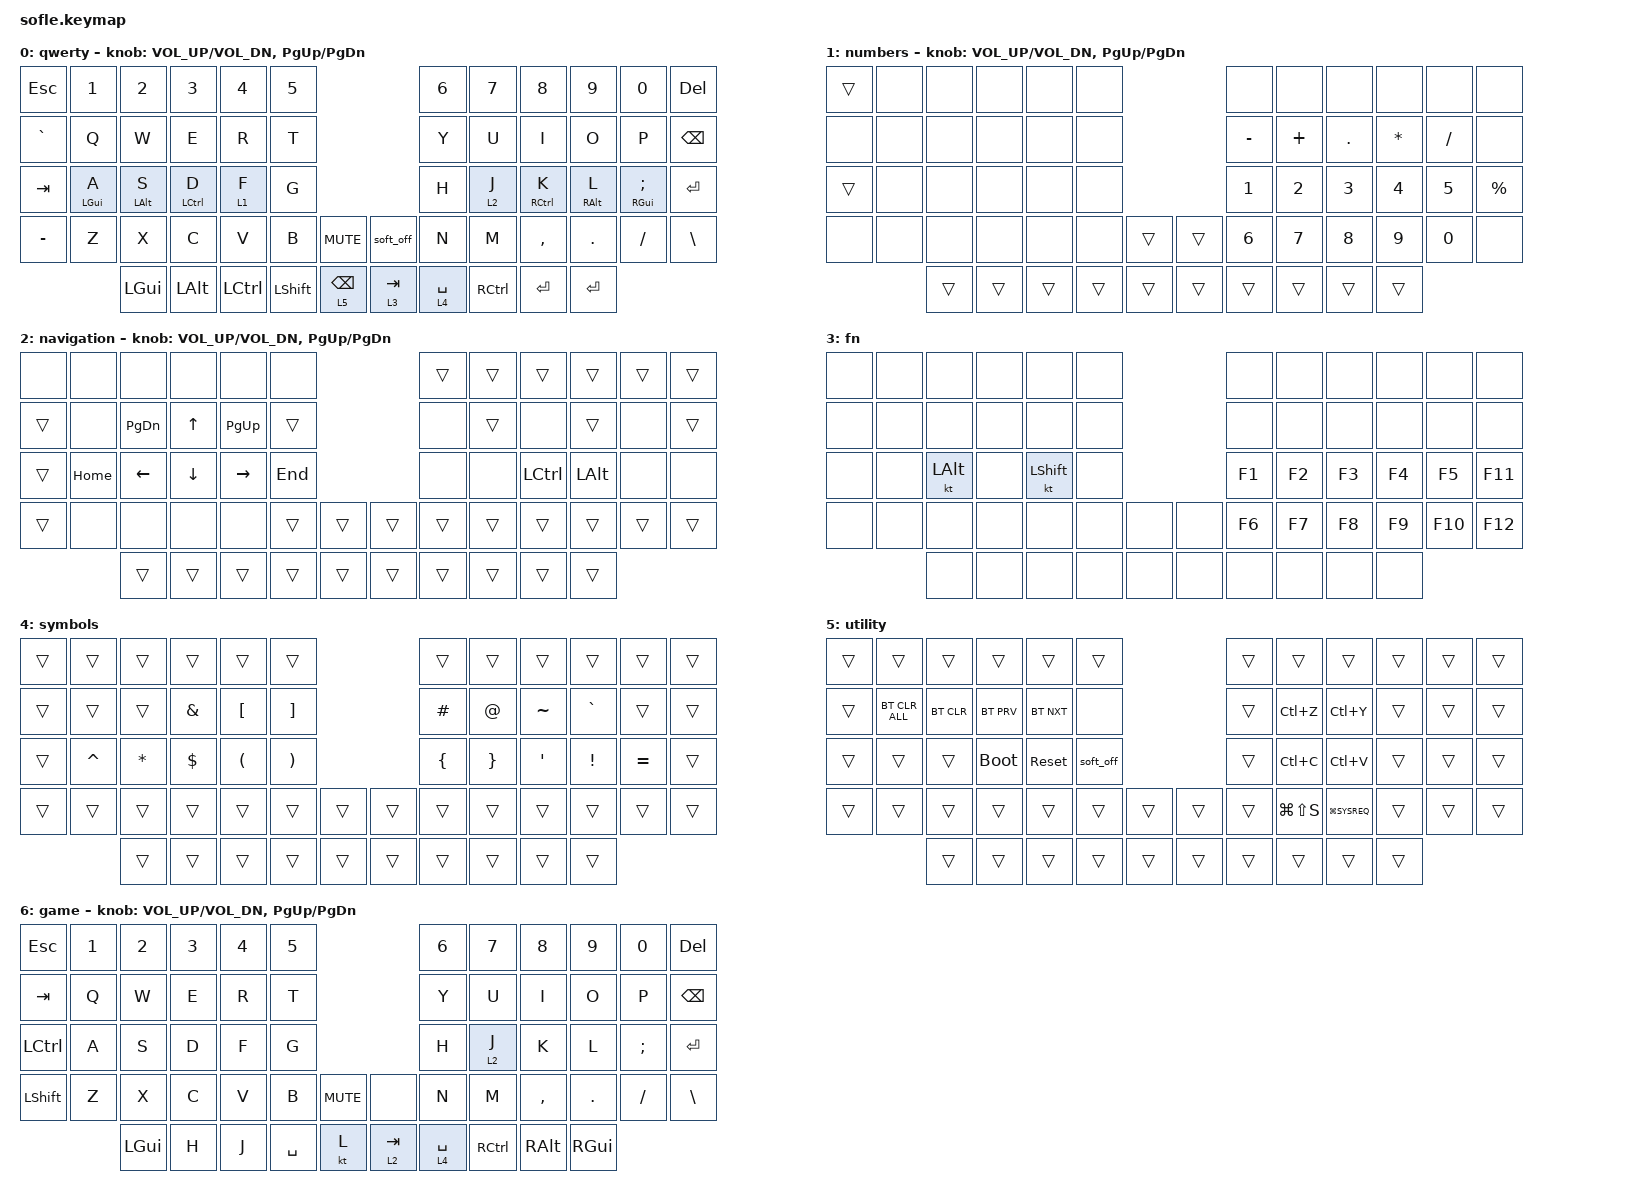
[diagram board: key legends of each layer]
/*
 * Copyright (c) 2020 The ZMK Contributors
 *
 * SPDX-License-Identifier: MIT
 */

#include <behaviors.dtsi>
#include <dt-bindings/zmk/bt.h>
#include <dt-bindings/zmk/keys.h>
#include <dt-bindings/zmk/keys.h>

//#define BASE 0
//#define LOWER 1
//#define RAISE 2
//#define ADJUST 3

/ {
    // Activate ADJUST layer by pressing raise and lower

    conditional_layers { compatible = "zmk,conditional-layers"; };

    combos {
        compatible = "zmk,combos";

        game {
            bindings = <&tog 6>;
            key-positions = <0 11>;
        };

        game_2 {
            bindings = <&tog 6>;
            key-positions = <1 10>;
        };

        // qwert {
        //    bindings = <&tog 0>;
        //    key-positions = <36 49>;
        // };
    };

    keymap {
        compatible = "zmk,keymap";

        qwerty_layer {
            display-name = "qwerty";

            // ------------------------------------------------------------------------------------------------------------
            // |   `   |  1  |  2  |  3   |  4   |  5   |                   |  6   |  7    |  8    |  9   |   0   |       |
            // |  ESC  |  Q  |  W  |  E   |  R   |  T   |                   |  Y   |  U    |  I    |  O   |   P   | BKSPC |
            // |  TAB  |  A  |  S  |  D   |  F   |  G   |                   |  H   |  J    |  K    |  L   |   ;   |   '   |
            // | SHIFT |  Z  |  X  |  C   |  V   |  B   |  MUTE  |  |       |  N   |  M    |  ,    |  .   |   /   | SHIFT |
            //               | GUI | ALT  | CTRL | LOWER|  ENTER |  | SPACE | RAISE| CTRL  | ALT   | GUI  |

            bindings = <
&kp ESCAPE  &kp N1          &kp N2          &kp N3              &kp N4     &kp N5                                        &kp N6       &kp N7     &kp N8               &kp N9           &kp N0                   &kp DEL
&kp GRAVE   &kp Q           &kp W           &kp E               &kp R      &kp T                                         &kp Y        &kp U      &kp I                &kp O            &kp P                    &kp BSPC
&kp TAB     &mt LEFT_GUI A  &mt LEFT_ALT S  &mt LEFT_CONTROL D  &lt 1 F    &kp G                                         &kp H        &lt 2 J    &mt RIGHT_CONTROL K  &mt RIGHT_ALT L  &mt RIGHT_GUI SEMICOLON  &kp ENTER
&kp MINUS   &kp Z           &kp X           &kp C               &kp V      &kp B           &kp C_MUTE         &soft_off  &kp N        &kp M      &kp COMMA            &kp DOT          &kp FSLH                 &kp BACKSLASH
                            &kp LGUI        &kp LALT            &kp LCTRL  &kp LEFT_SHIFT  &lt 5 BACKSPACE    &lt 3 TAB  &lt 4 SPACE  &kp RCTRL  &kp ENTER            &kp ENTER
            >;

            sensor-bindings = <&inc_dec_kp C_VOL_UP C_VOL_DN &inc_dec_kp PG_UP PG_DN>;
        };

        num_layer {
            display-name = "numbers";

            // TODO: Some binds are waiting for shifted keycode support.
            // ------------------------------------------------------------------------------------------------------------
            // |       |  F1 |  F2 |  F3  |  F4  |  F5  |                   |  F6  |  F7   |  F8   |  F9  |  F10  |  F11  |
            // |   `   |  1  |  2  |  3   |  4   |  5   |                   |  6   |  7    |  8    |  9   |   0   |  F12  |
            // |       |  !  |  @  |  #   |  $   |  %   |                   |  ^   |  &    |  *    |  (   |   )   |   |   |
            // |       |  =  |  -  |  +   |  {   |  }   |        |  |       |  [   |  ]    |  ;    |  :   |   \   |       |
            //               |     |      |      |      |        |  |       |      |       |       |      |

            bindings = <
&trans  &none  &none   &none   &none   &none                     &none         &none         &none         &none         &none      &none
&none   &none  &none   &none   &none   &none                     &kp MINUS     &kp PLUS      &kp PERIOD    &kp ASTERISK  &kp SLASH  &none
&trans  &none  &none   &none   &none   &none                     &kp NUMBER_1  &kp NUMBER_2  &kp NUMBER_3  &kp NUMBER_4  &kp N5     &kp PERCENT
&none   &none  &none   &none   &none   &none   &trans    &trans  &kp NUMBER_6  &kp N7        &kp N8        &kp N9        &kp N0     &none
               &trans  &trans  &trans  &trans  &trans    &trans  &trans        &trans        &trans        &trans
            >;

            sensor-bindings = <&inc_dec_kp C_VOL_UP C_VOL_DN &inc_dec_kp PG_UP PG_DN>;
        };

        nav_layer {
            display-name = "navigation";

            // ------------------------------------------------------------------------------------------------------------
            // | BTCLR | BT1  | BT2  |  BT3  |  BT4  |  BT5 |                |      |      |       |      |       |       |
            // |       | INS  | PSCR | GUI   |       |      |                | PGUP |      |   ^   |      |       |       |
            // |       | ALT  | CTRL | SHIFT |       | CAPS |                | PGDN |   <- |   v   |  ->  |  DEL  | BKSPC |
            // |       | UNDO | CUT  | COPY  | PASTE |      |      |  |      |      |      |       |      |       |       |
            //                |      |       |       |      |      |  |      |      |      |       |      |

            bindings = <
&none   &none     &none      &none         &none        &none                      &trans  &trans  &trans     &trans        &trans  &trans
&trans  &none     &kp PG_DN  &kp UP_ARROW  &kp PAGE_UP  &trans                     &none   &trans  &none      &trans        &none   &trans
&trans  &kp HOME  &kp LEFT   &kp DOWN      &kp RIGHT    &kp END                    &none   &none   &kp LCTRL  &kp LEFT_ALT  &none   &none
&trans  &none     &none      &none         &none        &trans   &trans    &trans  &trans  &trans  &trans     &trans        &trans  &trans
                  &trans     &trans        &trans       &trans   &trans    &trans  &trans  &trans  &trans     &trans
            >;

            sensor-bindings = <&inc_dec_kp C_VOL_UP C_VOL_DN &inc_dec_kp PG_UP PG_DN>;
        };

        fn_layer {
            // ----------------------------------------------------------------------------------------------------------------------------
            // | BTCLR  |  BT1    |  BT2    |   BT3   |   BT4   |   BT5   |                  |      |      |       |      |       |       |
            // | EXTPWR | RGB_HUD | RGB_HUI | RGB_SAD | RGB_SAI | RGB_EFF |                  |      |      |       |      |       |       |
            // |        | RGB_BRD | RGB_BRI |         |         |         |                  |      |      |       |      |       |       |
            // |        |         |         |         |         |         | RGB_TOG | |      |      |      |       |      |       |       |
            //                    |         |         |         |         |         | |      |      |      |       |      |

            display-name = "fn";
            bindings = <
&none  &none  &none         &none  &none           &none                  &none   &none   &none   &none   &none    &none
&none  &none  &none         &none  &none           &none                  &none   &none   &none   &none   &none    &none
&none  &none  &kt LEFT_ALT  &none  &kt LEFT_SHIFT  &none                  &kp F1  &kp F2  &kp F3  &kp F4  &kp F5   &kp F11
&none  &none  &none         &none  &none           &none  &none    &none  &kp F6  &kp F7  &kp F8  &kp F9  &kp F10  &kp F12
              &none         &none  &none           &none  &none    &none  &none   &none   &none   &none
            >;
        };

        system_layer {
            bindings = <
&trans  &trans     &trans        &trans         &trans                &trans                                   &trans          &trans           &trans     &trans           &trans     &trans
&trans  &trans     &trans        &kp AMPERSAND  &kp LEFT_BRACKET      &kp RIGHT_BRACKET                        &kp HASH        &kp AT_SIGN      &kp TILDE  &kp GRAVE        &trans     &trans
&trans  &kp CARET  &kp ASTERISK  &kp DOLLAR     &kp LEFT_PARENTHESIS  &kp RIGHT_PARENTHESIS                    &kp LEFT_BRACE  &kp RIGHT_BRACE  &kp SQT    &kp EXCLAMATION  &kp EQUAL  &trans
&trans  &trans     &trans        &trans         &trans                &trans                 &trans    &trans  &trans          &trans           &trans     &trans           &trans     &trans
                   &trans        &trans         &trans                &trans                 &trans    &trans  &trans          &trans           &trans     &trans
            >;

            label = "symbols";
        };

        ctrl_layer {
            bindings = <
&trans  &trans          &trans      &trans       &trans      &trans                       &trans  &trans         &trans          &trans  &trans  &trans
&trans  &bt BT_CLR_ALL  &bt BT_CLR  &bt BT_PRV   &bt BT_NXT  &none                        &trans  &kp LC(Z)      &kp LC(Y)       &trans  &trans  &trans
&trans  &trans          &trans      &bootloader  &sys_reset  &soft_off                    &trans  &kp LC(C)      &kp LC(V)       &trans  &trans  &trans
&trans  &trans          &trans      &trans       &trans      &trans     &trans    &trans  &trans  &kp LG(LS(S))  &kp LG(SYSREQ)  &trans  &trans  &trans
                        &trans      &trans       &trans      &trans     &trans    &trans  &trans  &trans         &trans          &trans
            >;

            label = "utility";
        };

        game {
            display-name = "game";
            bindings = <
&kp ESC         &kp N1  &kp N2    &kp N3  &kp N4  &kp N5                              &kp N6       &kp N7     &kp N8     &kp N9    &kp N0    &kp DEL
&kp TAB         &kp Q   &kp W     &kp E   &kp R   &kp T                               &kp Y        &kp U      &kp I      &kp O     &kp P     &kp BSPC
&kp LCTRL       &kp A   &kp S     &kp D   &kp F   &kp G                               &kp H        &lt 2 J    &kp K      &kp L     &kp SEMI  &kp ENTER
&kp LEFT_SHIFT  &kp Z   &kp X     &kp C   &kp V   &kp B      &kp C_MUTE    &none      &kp N        &kp M      &kp COMMA  &kp DOT   &kp FSLH  &kp BACKSLASH
                        &kp LGUI  &kp H   &kp J   &kp SPACE  &kt L         &lt 2 TAB  &lt 4 SPACE  &kp RCTRL  &kp RALT   &kp RGUI
            >;

            sensor-bindings =
                <&inc_dec_kp C_VOL_UP C_VOL_DN>,
                <&inc_dec_kp PG_UP PG_DN>;
        };
    };
};
